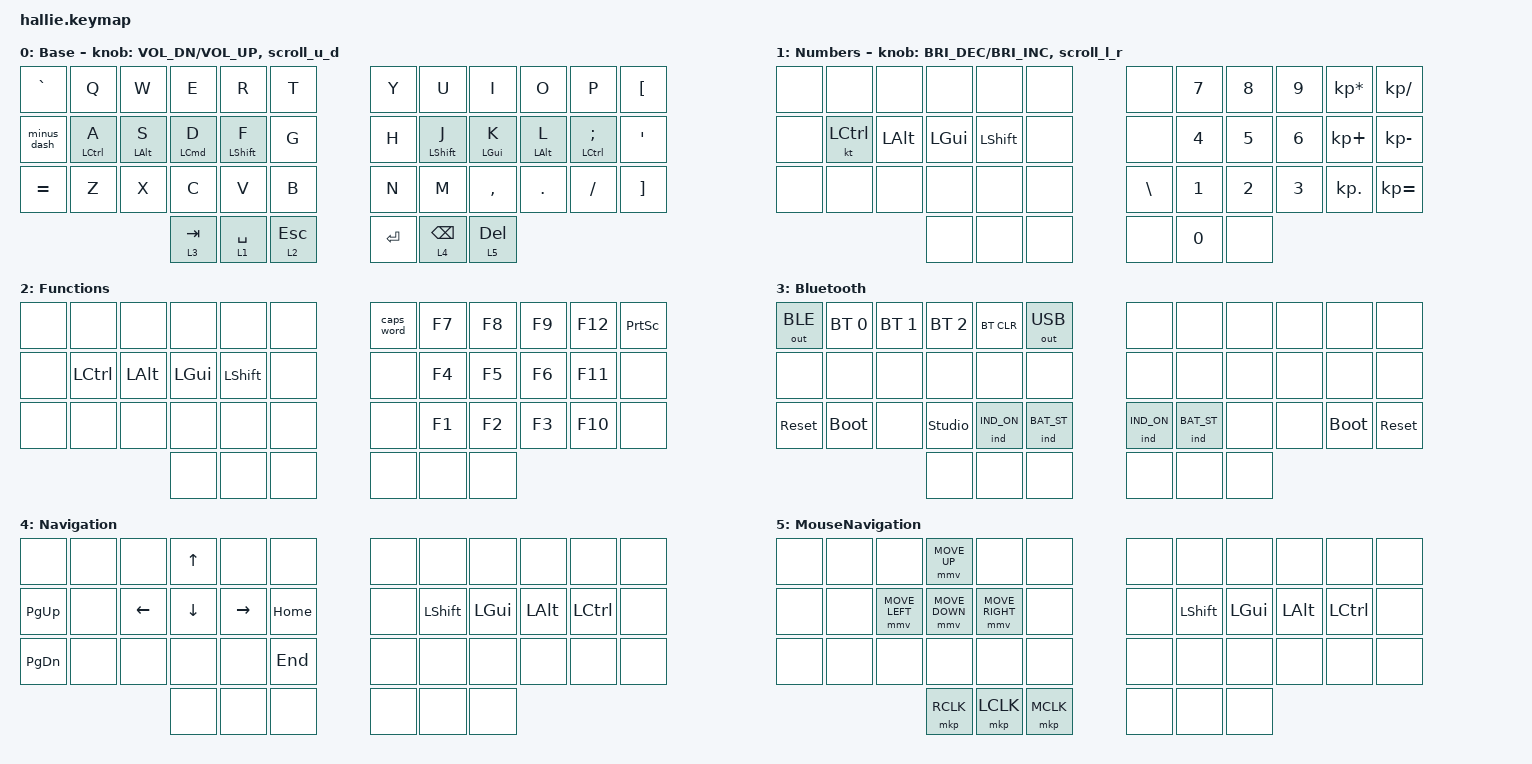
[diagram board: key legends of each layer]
#undef ZMK_BEHAVIORS_KEEP_ALL

#define ZMK_BEHAVIORS_KEEP_IND
#define ZMK_BEHAVIORS_KEEP_BT
#define ZMK_BEHAVIORS_KEEP_GRESC
#define ZMK_BEHAVIORS_KEEP_SYS_RESET
#define ZMK_BEHAVIORS_KEEP_BOOTLOADER
#define ZMK_BEHAVIORS_KEEP_CAPS_WORD
#define ZMK_BEHAVIORS_KEEP_KEY_REPEAT
#define ZMK_BEHAVIORS_KEEP_KT
#define ZMK_BEHAVIORS_KEEP_LT
#define ZMK_BEHAVIORS_KEEP_MT
#define ZMK_BEHAVIORS_KEEP_SK
#define ZMK_BEHAVIORS_KEEP_STICKY_LAYER
#define ZMK_BEHAVIORS_KEEP_TO
#define ZMK_BEHAVIORS_KEEP_TOG
#define ZMK_BEHAVIORS_KEEP_TRANS

#include <behaviors/indicators.dtsi>
#include <dt-bindings/zmk/indicators.h>
#include <behaviors.dtsi>
#include <dt-bindings/zmk/bt.h>
#include <dt-bindings/zmk/keys.h>
#include <dt-bindings/zmk/outputs.h>
#include <dt-bindings/zmk/pointing.h>

&lt { quick_tap_ms = <200>; };

&mt { quick_tap_ms = <200>; };

/ {
    macros {
        em_dash: em_dash {
            compatible = "zmk,behavior-macro";
            #binding-cells = <0>;
            bindings = <&macro_press &kp LEFT_CONTROL &kp LEFT_SHIFT>, <&macro_tap &kp U>, <&macro_release &kp LEFT_CONTROL &kp LEFT_SHIFT>, <&macro_tap &kp N2 &kp N0 &kp N1 &kp N4 &kp ENTER>;

            label = "EM_DASH";
            wait-ms = <10>;
            tap-ms = <10>;
        };

        en_dash: en_dash {
            compatible = "zmk,behavior-macro";
            #binding-cells = <0>;
            bindings = <&macro_press &kp LEFT_CONTROL &kp LEFT_SHIFT>, <&macro_tap &kp U>, <&macro_release &kp LEFT_CONTROL &kp LEFT_SHIFT>, <&macro_tap &kp N2 &kp N0 &kp N1 &kp N3 &kp ENTER>;

            label = "EN_DASH";
            wait-ms = <10>;
            tap-ms = <10>;
        };
    };

    behaviors {
        hml: hml {
            compatible = "zmk,behavior-hold-tap";
            label = "HML";
            bindings = <&kp>, <&kp>;

            #binding-cells = <2>;
            tapping-term-ms = <250>;
            quick-tap-ms = <200>;
            flavor = "balanced";
            hold-trigger-key-positions = <6 7 8 9 10 11 18 19 20 21 22 23 30 31 32 33 34 35 39 40 41 37 36>;
            hold-trigger-on-release;
            require-prior-idle-ms = <150>;
        };

        hmr: hmr {
            compatible = "zmk,behavior-hold-tap";
            label = "HMR";
            bindings = <&kp>, <&kp>;

            #binding-cells = <2>;
            tapping-term-ms = <250>;
            quick-tap-ms = <200>;
            hold-trigger-key-positions = <0 1 2 3 4 5 12 13 14 15 16 17 24 25 26 27 28 29 36 37 38>;
            hold-trigger-on-release;
            flavor = "balanced";
            require-prior-idle-ms = <150>;
        };

        minus_dash: minus_dash {
            compatible = "zmk,behavior-tap-dance";
            label = "minus-dash";
            #binding-cells = <0>;
            bindings = <&kp MINUS>, <&em_dash>, <&en_dash>;
        };
    };

    keymap {
        compatible = "zmk,keymap";

        Base {
            bindings = <
&kp GRAVE  &kp Q                &kp W            &kp E                &kp R              &kp T           &kp Y      &kp U              &kp I            &kp O             &kp P                   &kp LEFT_BRACKET
&minus_dash  &hml LEFT_CONTROL A  &hml LEFT_ALT S  &hml LEFT_COMMAND D  &hml LEFT_SHIFT F  &kp G           &kp H      &hmr LEFT_SHIFT J  &hmr LEFT_GUI K  &hmr LEFT_ALT L  &hmr LEFT_CONTROL SEMI  &kp SQT
&kp EQUAL  &kp Z                &kp X            &kp C                &kp V              &kp B           &kp N      &kp M              &kp COMMA        &kp DOT           &kp SLASH               &kp RIGHT_BRACKET
                                                 &lt 3 TAB            &lt 1 SPACE        &lt 2 ESCAPE    &kp ENTER  &lt 4 BACKSPACE    &lt 5 DELETE
            >;

            sensor-bindings = <&inc_dec_kp C_VOL_DN C_VOL_UP &scroll_u_d>;
        };

        Numbers {
            bindings = <
&none  &none             &none         &none         &none           &none    &none          &kp N7  &kp N8  &kp N9  &kp KP_MULTIPLY  &kp KP_DIVIDE
&none  &kt LEFT_CONTROL  &kp LEFT_ALT  &kp LEFT_GUI  &kp LEFT_SHIFT  &none    &none          &kp N4  &kp N5  &kp N6  &kp KP_PLUS      &kp KP_MINUS
&none  &none             &none         &none         &none           &none    &kp BACKSLASH  &kp N1  &kp N2  &kp N3  &kp KP_DOT       &kp KP_EQUAL
                                       &none         &none           &none    &none          &kp N0  &none
            >;

            sensor-bindings =
                <&inc_dec_kp C_BRIGHTNESS_DEC C_BRIGHTNESS_INC>,
                <&scroll_l_r>;
        };

        Functions {
            bindings = <
&none  &none             &none         &none         &none           &none    &caps_word  &kp F7  &kp F8  &kp F9  &kp F12  &kp PRINTSCREEN
&none  &kp LEFT_CONTROL  &kp LEFT_ALT  &kp LEFT_GUI  &kp LEFT_SHIFT  &none    &none       &kp F4  &kp F5  &kp F6  &kp F11  &none
&none  &none             &none         &none         &none           &none    &none       &kp F1  &kp F2  &kp F3  &kp F10  &none
                                       &none         &none           &none    &none       &none   &none
            >;
        };

        Bluetooth {
            bindings = <
&out OUT_BLE  &bt BT_SEL 0  &bt BT_SEL 1  &bt BT_SEL 2    &bt BT_CLR   &out OUT_USB    &none        &none        &none  &none  &none        &none
&none         &none         &none         &none           &none        &none           &none        &none        &none  &none  &none        &none
&sys_reset    &bootloader   &none         &studio_unlock  &ind IND_ON  &ind BAT_ST     &ind IND_ON  &ind BAT_ST  &none  &none  &bootloader  &sys_reset
                                          &none           &none        &none           &none        &none        &none
            >;
        };

        Navigation {
            bindings = <
&none          &none  &none     &kp UP_ARROW  &none      &none       &none  &none           &none         &none         &none             &none
&kp PAGE_UP    &none  &kp LEFT  &kp DOWN      &kp RIGHT  &kp HOME    &none  &kp LEFT_SHIFT  &kp LEFT_GUI  &kp LEFT_ALT  &kp LEFT_CONTROL  &none
&kp PAGE_DOWN  &none  &none     &none         &none      &kp END     &none  &none           &none         &none         &none             &none
                                &none         &none      &none       &none  &none           &none
            >;
        };

        MouseNavigation {
            bindings = <
&none  &none  &none           &mmv MOVE_UP    &none            &none        &none  &none           &none         &none         &none             &none
&none  &none  &mmv MOVE_LEFT  &mmv MOVE_DOWN  &mmv MOVE_RIGHT  &none        &none  &kp LEFT_SHIFT  &kp LEFT_GUI  &kp LEFT_ALT  &kp LEFT_CONTROL  &none
&none  &none  &none           &none           &none            &none        &none  &none           &none         &none         &none             &none
                              &mkp RCLK       &mkp LCLK        &mkp MCLK    &none  &none           &none
            >;
        };
    };
};
